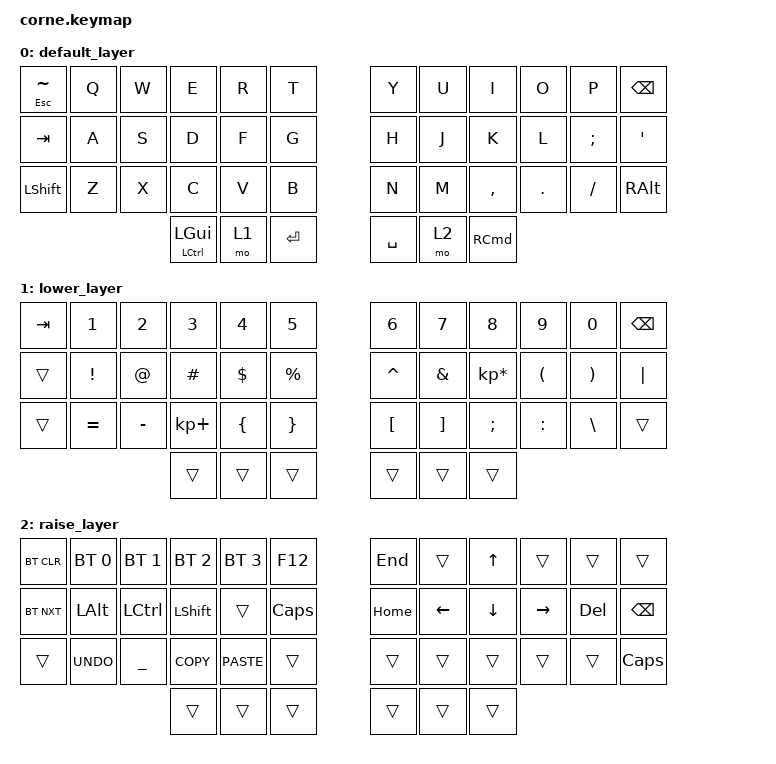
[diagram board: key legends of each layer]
/*
 * Copyright (c) 2020 The ZMK Contributors
 *
 * SPDX-License-Identifier: MIT
 */

#include <behaviors.dtsi>
#include <dt-bindings/zmk/keys.h>
#include <dt-bindings/zmk/bt.h>

/ {
        keymap {
                compatible = "zmk,keymap";

                default_layer {
// -----------------------------------------------------------------------------------------
// | ESC ~|  Q  |  W  |  E  |  R  |  T  |   |  Y  |  U   |  I  |  O  |  P  | BKSP |
// | TAB |  A  |  S  |  D  |  F  |  G  |   |  H  |  J   |  K  |  L  |  ;  |  '   |
// | SHFT |  Z  |  X  |  C  |  V  |  B  |   |  N  |  M   |  ,  |  .  |  /  | ESC  |
//                    | GUI | LWR | ENT |   | SPC | RSE  | ALT |
                        bindings = <
   &mt ESC TILDE   &kp Q &kp W &kp E &kp R &kp T   &kp Y &kp U  &kp I     &kp O   &kp P    &kp BSPC
   &kp TAB   &kp A &kp S &kp D &kp F &kp G   &kp H &kp J  &kp K     &kp L   &kp SEMI &kp SQT
   &kp LSHFT &kp Z &kp X &kp C &kp V &kp B   &kp N &kp M  &kp COMMA &kp DOT &kp FSLH &kp RALT
                  &mt LCTRL LGUI &mo 1 &kp RET   &kp SPACE &mo 2 &kp RIGHT_COMMAND
                        >;
                };
                lower_layer {
// -----------------------------------------------------------------------------------------
// |  TAB |  1  |  2  |  3  |  4  |  5  |   |  6  |  7  |  8  |  9  |  0  | BKSP |
// |      |  !  |  @  |  #  |  $  |  %  |   |  ^  |  &  |  *  |  (  |   ) |   |  |
// |      |  =  |  -  |  +  |  {  |  }  |   |  [  |  ]  |  ;  |  :  |   \ |      |
//                    | GUI | LWR | ENT |   | SPC | RSE | ALT |
                        bindings = <
   &kp TAB    &kp N1   &kp N2    &kp N3      &kp N4    &kp N5                    &kp N6    &kp N7   &kp N8          &kp N9    &kp N0    &kp BSPC
   &trans    &kp EXCL  &kp AT    &kp HASH    &kp DLLR  &kp PRCNT                 &kp CARET &kp AMPS &kp KP_MULTIPLY &kp LPAR  &kp RPAR  &kp PIPE
   &trans    &kp EQUAL &kp MINUS &kp KP_PLUS &kp LBRC  &kp RBRC                  &kp LBKT  &kp RBKT &kp SEMI        &kp COLON &kp BSLH  &trans
                                        &trans       &trans       &trans       &trans     &trans   &trans
                        >;
                };

                raise_layer {
// ------------------------------------------------------------------------------------------------------------
// |BTCLR| BT0  | BT1  |  BT2  |  BT3  |  F12 |    |  END |      |   ^  |      |      |       |
// |BTNXT| ALT  | CTRL | SHIFT |       | CAPS |    | HOME |   <- |   v  |  ->  |  DEL | BKSPC |
// |     | UNDO | CUT  | COPY  | PASTE |      |    |      |      |      |      |      | CAPS  |
//                          | GUI | LWR | ENT |    | SPC | RSE  | ALT |
                        bindings = <
   &bt BT_CLR &bt BT_SEL 0 &bt BT_SEL 1 &bt BT_SEL 2 &bt BT_SEL 3 &kp F12    &kp END  &trans    &kp UP   &trans    &trans  &trans
   &bt BT_NXT &kp LALT     &kp LCTRL    &kp LSHFT    &trans       &kp CLCK   &kp HOME &kp LEFT  &kp DOWN &kp RIGHT &kp DEL &kp BSPC
   &trans     &kp K_UNDO   &kp UNDER    &kp K_COPY   &kp K_PASTE  &trans     &trans   &trans    &trans   &trans    &trans  &kp CLCK
                    	     &trans &trans   &trans   &trans   &trans    &trans
                        >;
                };
        };
};
